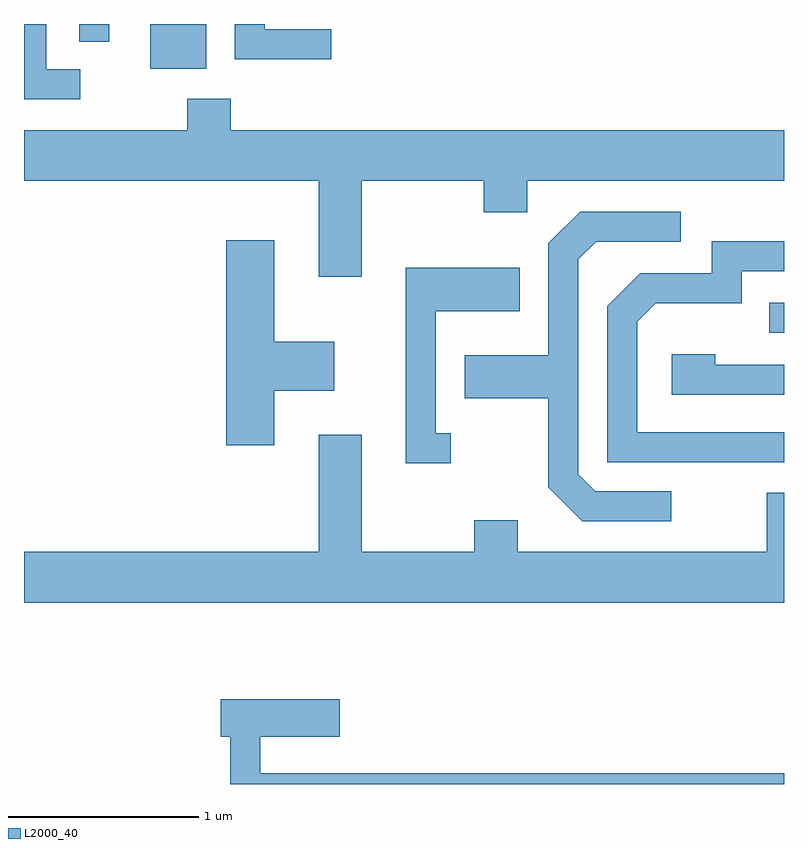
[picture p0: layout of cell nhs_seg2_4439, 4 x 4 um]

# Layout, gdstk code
import gdstk
lib = gdstk.Library(unit=1e-6, precision=1e-09)
def R(c, l, rs):  # rectangles x0, y0, x1, y1
    for r in rs: c.add(gdstk.rectangle(r[:2], r[2:], *l))
def P(c, l, *ps):  # polygons
    for p in ps: c.add(gdstk.Polygon(p, *l))
L2000_40 = (2000, 40)

nhs_seg2_4439 = lib.new_cell('nhs_seg2_4439')
R(nhs_seg2_4439, L2000_40, [(319.533,1054.176,319.611,1054.334), (316.276,1055.566,316.569,1055.802), (315.901,1055.708,316.059,1055.802)])
P(nhs_seg2_4439, L2000_40, [(315.908,1055.564),(315.729,1055.564),(315.729,1055.802),(315.611,1055.802),(315.611,1055.406),(315.908,1055.406)],
  [(317.228,1055.774),(316.879,1055.774),(316.879,1055.802),(316.721,1055.802),(316.721,1055.616),(317.228,1055.616)],
  [(317.389,1054.976),(318.031,1054.976),(318.031,1054.811),(318.259,1054.811),(318.259,1054.976),(319.611,1054.976),(319.611,1055.244),(316.699,1055.244),(316.699,1055.409),(316.471,1055.409),(316.471,1055.244),(315.611,1055.244),(315.611,1054.976),(317.161,1054.976),(317.161,1054.471),(317.389,1054.471)],
  [(319.018,1053.344),(318.617,1053.344),(318.529,1053.432),(318.529,1054.564),(318.622,1054.656),(319.068,1054.656),(319.068,1054.814),(318.539,1054.814),(318.371,1054.647),(318.371,1054.059),(317.931,1054.059),(317.931,1053.831),(318.371,1053.831),(318.371,1053.364),(318.549,1053.186),(319.018,1053.186)],
  [(316.929,1053.871),(317.244,1053.871),(317.244,1054.129),(316.929,1054.129),(316.929,1054.664),(316.676,1054.664),(316.676,1053.586),(316.929,1053.586)],
  [(319.611,1053.654),(318.839,1053.654),(318.839,1054.234),(318.937,1054.331),(319.389,1054.331),(319.389,1054.501),(319.611,1054.501),(319.611,1054.659),(319.231,1054.659),(319.231,1054.489),(318.854,1054.489),(318.681,1054.317),(318.681,1053.496),(319.611,1053.496)],
  [(317.858,1053.649),(317.779,1053.649),(317.779,1054.291),(318.219,1054.291),(318.219,1054.519),(317.621,1054.519),(317.621,1053.491),(317.858,1053.491)],
  [(319.611,1054.009),(319.249,1054.009),(319.249,1054.064),(319.021,1054.064),(319.021,1053.851),(319.611,1053.851)],
  [(319.611,1053.334),(319.521,1053.334),(319.521,1053.024),(318.209,1053.024),(318.209,1053.189),(317.981,1053.189),(317.981,1053.024),(317.389,1053.024),(317.389,1053.639),(317.161,1053.639),(317.161,1053.024),(315.611,1053.024),(315.611,1052.756),(319.611,1052.756)],
  [(319.611,1051.859),(316.854,1051.859),(316.854,1052.051),(317.274,1052.051),(317.274,1052.249),(316.646,1052.249),(316.646,1052.051),(316.696,1052.051),(316.696,1051.802),(319.611,1051.802)])

lib.write_gds('nhs_seg2_4439.gds')
